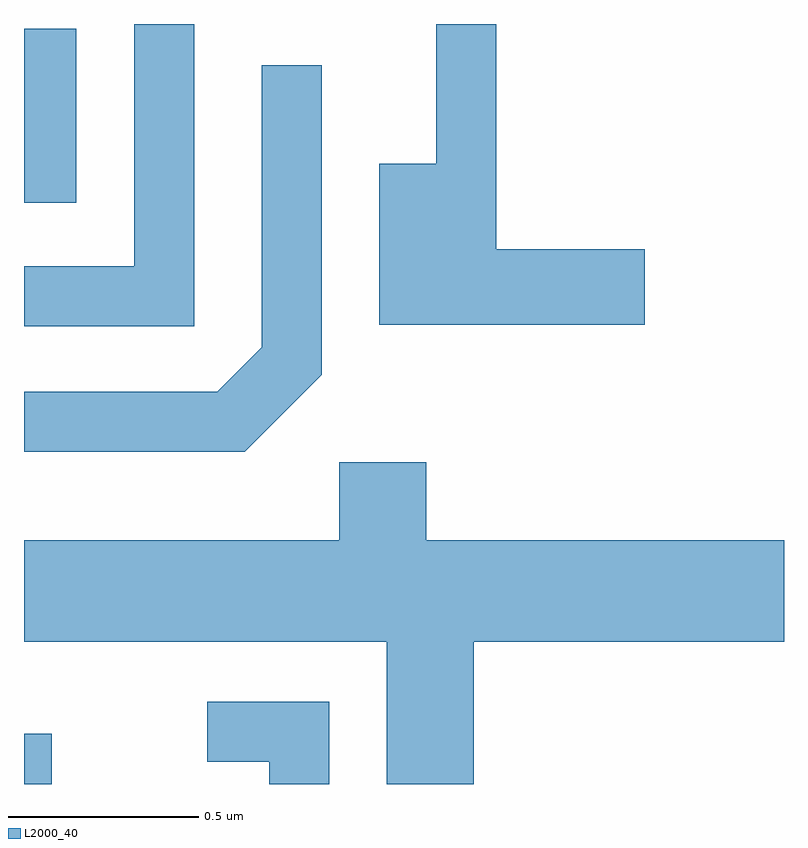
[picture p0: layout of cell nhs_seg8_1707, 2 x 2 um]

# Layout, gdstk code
import gdstk
lib = gdstk.Library(unit=1e-6, precision=1e-09)
def R(c, l, rs):  # rectangles x0, y0, x1, y1
    for r in rs: c.add(gdstk.rectangle(r[:2], r[2:], *l))
def P(c, l, *ps):  # polygons
    for p in ps: c.add(gdstk.Polygon(p, *l))
L2000_40 = (2000, 40)

nhs_seg8_1707 = lib.new_cell('nhs_seg8_1707')
R(nhs_seg8_1707, L2000_40, [(197.611,1869.342,197.684,1869.474), (197.611,1870.871,197.749,1871.329)])
P(nhs_seg8_1707, L2000_40, [(199.244,1870.749),(198.854,1870.749),(198.854,1871.342),(198.696,1871.342),(198.696,1870.974),(198.546,1870.974),(198.546,1870.551),(199.244,1870.551)],
  [(198.059,1871.342),(197.901,1871.342),(197.901,1870.704),(197.611,1870.704),(197.611,1870.546),(198.059,1870.546)],
  [(198.394,1870.419),(198.394,1871.233),(198.236,1871.233),(198.236,1870.492),(198.119,1870.374),(197.611,1870.374),(197.611,1870.216),(198.192,1870.216)],
  [(198.794,1869.716),(199.611,1869.716),(199.611,1869.984),(198.669,1869.984),(198.669,1870.189),(198.441,1870.189),(198.441,1869.984),(197.611,1869.984),(197.611,1869.716),(198.566,1869.716),(198.566,1869.342),(198.794,1869.342)],
  [(198.414,1869.559),(198.093,1869.559),(198.093,1869.401),(198.256,1869.401),(198.256,1869.342),(198.414,1869.342)])

lib.write_gds('nhs_seg8_1707.gds')
